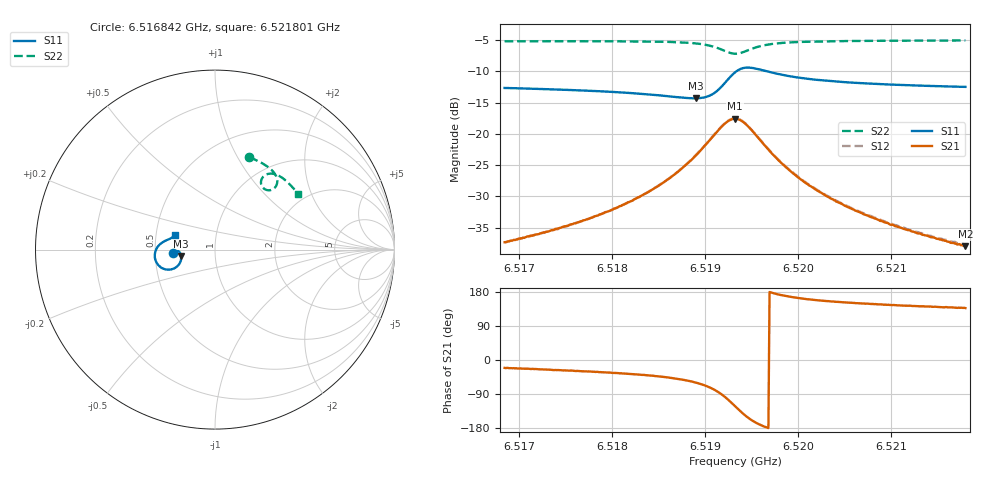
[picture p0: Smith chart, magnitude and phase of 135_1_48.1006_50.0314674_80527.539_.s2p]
#  HZ  S  RI  R  50.00
! Rohde & Schwarz Vector Network Analyzer
! Rohde-Schwarz,ZNB20-2Port,1311601062101988,3.16
! Created: UTC 12/23/2023, 3:48:10 AM
! freq[Hz]  re:S11  im:S11  re:S21  im:S21  re:S12  im:S12  re:S22  im:S22
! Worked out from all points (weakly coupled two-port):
!   401 points, 6.516842 GHz to 6.521801 GHz, reference 50 ohm
!   highest |S21| = -17.60 dB at 6.519322 GHz (marker M1); lowest = -37.9 dB at 6.521801 GHz (marker M2)
!   lowest |S11| = -14.3 dB at 6.5189 GHz (marker M3), VSWR 1.48, Z = 34.1 - j2.55 ohm
!   |S11| at or under -10 dB: start of sweep to 6.519338 GHz; 6.51966 GHz to end of sweep
!   |S22| runs from -7.2 to -5.1 dB; largest |S21 - S12| = 0.0042
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6.5168421e9  -0.2315 -0.02  0.0127 -0.00484  0.0128 -0.00447  0.192 0.5133
6.5173876e9  -0.2257 -0.0119  0.0156 -0.00774  0.0157 -0.00699  0.2323 0.4968
6.5176728e9  -0.2217 -0.00855  0.0175 -0.00988  0.0178 -0.00926  0.2535 0.4865
6.5181315e9  -0.2131 -0.00582  0.0222 -0.016  0.0228 -0.0153  0.2877 0.4657
6.5185035e9  -0.2028 -0.00962  0.0281 -0.0265  0.0291 -0.0258  0.3167 0.4424
6.5187018e9  -0.1955 -0.0176  0.0319 -0.0376  0.0333 -0.0368  0.332 0.4247
6.5189002e9  -0.1887 -0.036  0.034 -0.058  0.036 -0.0573  0.3448 0.3985
6.5190118e9  -0.189 -0.0555  0.0303 -0.0769  0.0327 -0.0763  0.347 0.3773
6.5190986e9  -0.1971 -0.0768  0.0199 -0.096  0.0229 -0.0961  0.3416 0.357
6.5192349e9  -0.2422 -0.1098  -0.0256 -0.1217  -0.0222 -0.1235  0.3078 0.3311
6.5193217e9  -0.2911 -0.1048  -0.0692 -0.1121  -0.0665 -0.115  0.2744 0.3387
6.5193713e9  -0.3152 -0.0869  -0.0888 -0.0941  -0.0866 -0.0975  0.2612 0.3538
6.5194333e9  -0.3323 -0.0568  -0.1005 -0.0661  -0.0994 -0.0695  0.2561 0.3768
6.5195325e9  -0.3329 -0.0129  -0.0964 -0.0284  -0.0963 -0.0315  0.2679 0.4055
6.5196441e9  -0.3178 0.0176  -0.0803 -0.00503  -0.0807 -0.00741  0.2903 0.4201
6.5197681e9  -0.3003 0.0349  -0.0636 0.00652  -0.0644 0.00461  0.3129 0.4235
6.519892e9  -0.2865 0.0443  -0.0513 0.0111  -0.0519 0.00969  0.3313 0.4209
6.5201524e9  -0.2668 0.0537  -0.0351 0.0132  -0.0357 0.0124  0.3598 0.4089
6.5205243e9  -0.2506 0.0608  -0.0231 0.0125  -0.0238 0.012  0.3898 0.3881
6.5209831e9  -0.2382 0.0677  -0.0156 0.0108  -0.0162 0.0104  0.4191 0.3611
6.5214666e9  -0.2288 0.0744  -0.0114 0.00942  -0.0118 0.00927  0.445 0.332
6.5218013e9  -0.2233 0.0791  -0.00928 0.00863  -0.00979 0.00863  0.4612 0.3111
